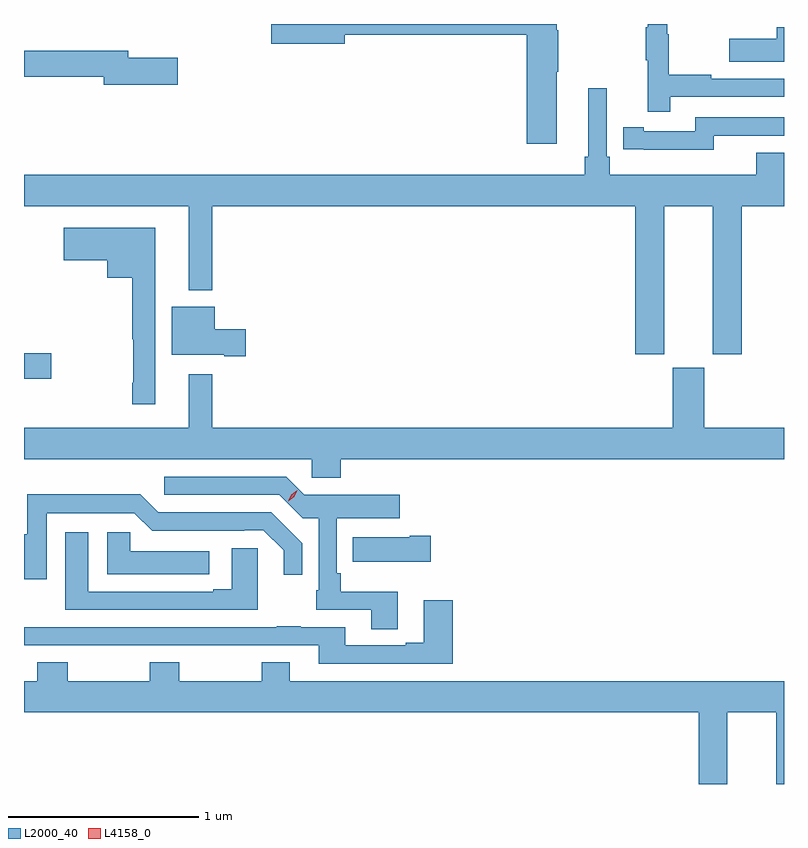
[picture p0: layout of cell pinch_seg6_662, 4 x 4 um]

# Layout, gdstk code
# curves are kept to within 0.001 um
import gdstk
lib = gdstk.Library(unit=1e-6, precision=1e-09)
def R(c, l, rs):  # rectangles x0, y0, x1, y1
    for r in rs: c.add(gdstk.rectangle(r[:2], r[2:], *l))
def P(c, l, *ps):  # polygons
    for p in ps: c.add(gdstk.Polygon(p, *l))
L2000_40 = (2000, 40)
L4158_0 = (4158, 0)

pinch_seg6_662 = lib.new_cell('pinch_seg6_662')
R(pinch_seg6_662, L2000_40, [(484.381,921.119,484.525,921.254)])
P(pinch_seg6_662, L2000_40, [(487.781,922.602),(488.381,922.602),(488.381,922.698),(487.997,922.698),(487.997,922.718),(487.774,922.718),(487.774,922.932),(487.766,922.932),(487.766,922.986),(487.664,922.986),(487.664,922.969),(487.653,922.969),(487.653,922.795),(487.664,922.795),(487.664,922.524),(487.781,922.524)],
  [(487.186,922.735),(487.194,922.735),(487.194,922.953),(487.186,922.953),(487.186,922.986),(485.682,922.986),(485.682,922.883),(486.07,922.883),(486.07,922.93),(487.028,922.93),(487.028,922.356),(487.186,922.356)],
  [(488.381,922.969),(488.342,922.969),(488.342,922.909),(488.093,922.909),(488.093,922.787),(488.381,922.787)],
  [(485.191,922.808),(484.93,922.808),(484.93,922.844),(484.381,922.844),(484.381,922.708),(484.802,922.708),(484.802,922.666),(485.191,922.666)],
  [(487.75,922.028),(488.006,922.028),(488.006,921.249),(488.159,921.249),(488.159,922.028),(488.381,922.028),(488.381,922.309),(488.234,922.309),(488.234,922.192),(487.463,922.192),(487.463,922.288),(487.449,922.288),(487.449,922.648),(487.352,922.648),(487.352,922.288),(487.333,922.288),(487.333,922.192),(484.381,922.192),(484.381,922.028),(485.249,922.028),(485.249,921.584),(485.371,921.584),(485.371,922.028),(487.598,922.028),(487.598,921.249),(487.75,921.249)],
  [(488.01,922.398),(488.381,922.398),(488.381,922.494),(487.914,922.494),(487.914,922.422),(487.642,922.422),(487.642,922.442),(487.534,922.442),(487.534,922.326),(487.642,922.326),(487.642,922.325),(488.01,922.325)],
  [(485.071,921.913),(484.59,921.913),(484.59,921.743),(484.82,921.743),(484.82,921.65),(484.95,921.65),(484.95,921.326),(484.957,921.326),(484.957,921.097),(484.95,921.097),(484.95,920.985),(485.071,920.985)],
  [(485.548,921.38),(485.386,921.38),(485.386,921.499),(485.159,921.499),(485.159,921.245),(485.435,921.245),(485.435,921.238),(485.548,921.238)],
  [(486.047,920.696),(488.381,920.696),(488.381,920.86),(487.96,920.86),(487.96,921.177),(487.796,921.177),(487.796,920.86),(485.371,920.86),(485.371,921.142),(485.249,921.142),(485.249,920.86),(484.381,920.86),(484.381,920.696),(485.895,920.696),(485.895,920.598),(486.047,920.598)],
  [(486.349,919.999),(486.047,919.999),(486.047,920.095),(486.027,920.095),(486.027,920.384),(486.358,920.384),(486.358,920.509),(485.857,920.508),(485.761,920.604),(485.118,920.604),(485.118,920.508),(485.724,920.508),(485.847,920.385),(485.931,920.385),(485.931,920.005),(485.919,920.005),(485.919,919.902),(486.209,919.902),(486.209,919.801),(486.349,919.801)],
  [(484.501,920.412),(484.962,920.412),(485.055,920.319),(485.54,920.319),(485.54,920.322),(485.64,920.322),(485.747,920.215),(485.747,920.088),(485.846,920.088),(485.846,920.252),(485.683,920.415),(485.088,920.415),(484.994,920.51),(484.397,920.51),(484.397,920.3),(484.381,920.3),(484.381,920.063),(484.501,920.063)],
  [(485.356,920.212),(484.94,920.212),(484.94,920.311),(484.82,920.311),(484.82,920.09),(485.356,920.09)],
  [(485.612,920.227),(485.474,920.227),(485.474,920.011),(485.378,920.011),(485.378,919.998),(484.72,919.998),(484.72,920.311),(484.598,920.311),(484.598,919.902),(485.612,919.902)],
  [(486.523,920.292),(486.41,920.292),(486.41,920.284),(486.112,920.284),(486.112,920.156),(486.523,920.156)],
  [(486.638,919.954),(486.485,919.954),(486.485,919.729),(486.389,919.729),(486.389,919.716),(486.073,919.716),(486.073,919.812),(485.837,919.812),(485.837,919.817),(485.71,919.817),(485.71,919.812),(484.381,919.812),(484.381,919.716),(484.699,919.716),(484.699,919.715),(484.955,919.715),(484.955,919.716),(485.287,919.716),(485.287,919.715),(485.543,919.715),(485.543,919.716),(485.933,919.716),(485.933,919.62),(486.638,919.62)],
  [(488.083,919.364),(488.339,919.364),(488.339,918.986),(488.381,918.986),(488.381,919.528),(485.779,919.528),(485.779,919.627),(485.632,919.627),(485.632,919.528),(485.199,919.528),(485.199,919.627),(485.044,919.627),(485.044,919.528),(484.611,919.528),(484.611,919.627),(484.451,919.627),(484.451,919.528),(484.381,919.528),(484.381,919.364),(487.931,919.364),(487.931,918.986),(488.083,918.986)])
P(pinch_seg6_662, L4158_0, [(485.772,920.475),(485.772,920.475),(485.787,920.509),(485.818,920.531),(485.818,920.531),(485.818,920.531),(485.803,920.497),(485.773,920.475)])

lib.write_gds('pinch_seg6_662.gds')
